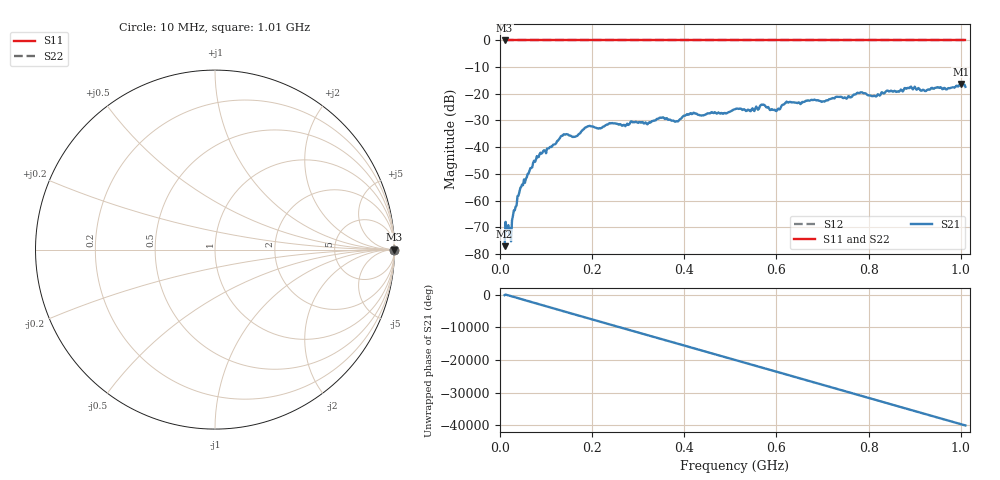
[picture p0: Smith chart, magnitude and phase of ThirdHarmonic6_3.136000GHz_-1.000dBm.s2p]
! 8/17/2025 9:21:00 AM
! C:\ANRITSUVNA\TEMP\TEMP.S2P
! CHANNEL.1
! TR.MEASUREMENT
! RAW.DATA
! RF.CORRECTION.OFF
! AVERAGING.OFF
! IF.BANDWIDTH: 5KHZ
! SWEEPTYPE:  FREQ.SWEEP(Linear)
! Reference Plane Port Info
! PORT:  PORT1  PORT2
! DISTANCE:  0  m  0  m
! TIME:  0  s  0  s
! PHASE.OFFSET:  0  deg.  0  deg.
! LOSS:  0  dB  0  dB
! REF.LOSS:  0  dB  0  dB
! REF.FREQ:  0  Hz  0  Hz
! Power Info
! POWER:  -20  dBm  -20  dBm
! EFF.POWER:  -20  dBm  -20  dBm
! SOURCE.ATTEN:  0  dB  0  dB
! TEST.ATTEN:  0  dB  0  dB
# GHZ S RI R 50.0
! FREQ.GHZ  S11RE  S11IM  S21RE  S21IM  S12RE  S12IM  S22RE  S22IM
!; PortSelection: Port_12
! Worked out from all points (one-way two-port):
!   501 points, 10 MHz to 1.01 GHz, reference 50 ohm
!   highest |S21| = -16.35 dB at 1 GHz (marker M1); lowest = -77.1 dB at 10 MHz (marker M2)
!   lowest |S11| = 0.0 dB at 10 MHz (marker M3)
!   |S11| at or under -10 dB: nowhere
!   |S22| runs from 0.0 to 0.0 dB; largest |S21 - S12| = 1.1
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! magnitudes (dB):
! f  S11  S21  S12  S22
! 10 MHz  0.0  -77.1  0.0  0.0
! 16 MHz  0.0  -70.4  0.0  0.0
! 24 MHz  0.0  -75.3  0.0  0.0
! 42 MHz  0.0  -56.9  0.0  0.0
! 76 MHz  0.0  -45.5  0.0  0.0
! 136 MHz  0.0  -35.7  0.0  0.0
! 162 MHz  0.0  -36.1  0.0  0.0
! 178 MHz  0.0  -33.8  0.0  0.0
! 192 MHz  0.0  -32.1  0.0  0.0
! 322 MHz  0.0  -31.0  0.0  0.0
! 344 MHz  0.0  -29.3  0.0  0.0
! 382 MHz  0.0  -30.3  0.0  0.0
! 416 MHz  0.0  -27.6  0.0  0.0
! 510 MHz  0.0  -25.8  0.0  0.0
! 548 MHz  0.0  -25.4  0.0  0.0
! 570 MHz  0.0  -24.1  0.0  0.0
! 598 MHz  0.0  -26.3  0.0  0.0
! 624 MHz  0.0  -23.3  0.0  0.0
! 678 MHz  0.0  -22.3  0.0  0.0
! 844 MHz  0.0  -19.1  0.0  0.0
! 1 GHz  0.0  -16.3  0.0  0.0
! 1.01 GHz  0.0  -17.4  0.0  0.0
